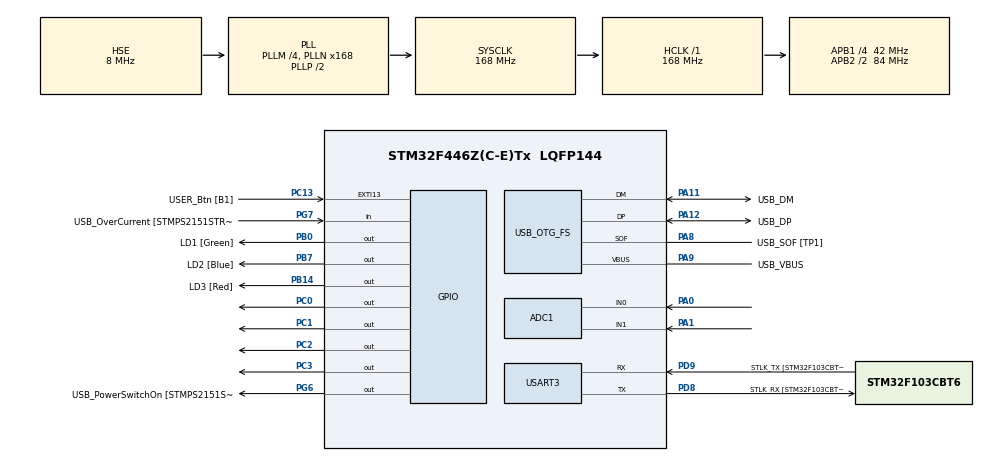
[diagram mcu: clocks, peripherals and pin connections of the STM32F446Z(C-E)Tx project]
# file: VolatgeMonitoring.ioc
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ADC1.Channel-0\#ChannelRegularConversion=ADC_CHANNEL_0
ADC1.NbrOfConversionFlag=1
ADC1.Rank-0\#ChannelRegularConversion=1
ADC1.SamplingTime-0\#ChannelRegularConversion=ADC_SAMPLETIME_3CYCLES
ADC1.master=1
Mcu.Family=STM32F4
Mcu.Name=STM32F446Z(C-E)Tx
Mcu.Package=LQFP144
NVIC.PriorityGroup=NVIC_PRIORITYGROUP_4
PA0-WKUP.Signal=ADCx_IN0
PA1.Signal=ADCx_IN1
PA10.GPIO_Label=USB_ID
PA10.Signal=USB_OTG_FS_ID
PA11.GPIO_Label=USB_DM
PA11.Mode=Device_Only
PA11.Signal=USB_OTG_FS_DM
PA12.GPIO_Label=USB_DP
PA12.Mode=Device_Only
PA12.Signal=USB_OTG_FS_DP
PA13.GPIO_Label=TMS
PA13.Mode=Serial_Wire
PA13.Signal=SYS_JTMS-SWDIO
PA14.GPIO_Label=TCK
PA14.Mode=Serial_Wire
PA14.Signal=SYS_JTCK-SWCLK
PA8.GPIO_Label=USB_SOF [TP1]
PA8.Mode=Activate_SOF_FS
PA8.Signal=USB_OTG_FS_SOF
PA9.GPIO_Label=USB_VBUS
PA9.Mode=Activate_VBUS
PA9.Signal=USB_OTG_FS_VBUS
PB0.GPIO_Label=LD1 [Green]
PB0.Signal=GPIO_Output
PB14.GPIO_Label=LD3 [Red]
PB14.Signal=GPIO_Output
PB7.GPIO_Label=LD2 [Blue]
PB7.Signal=GPIO_Output
PC0.Signal=GPIO_Output
PC1.Signal=GPIO_Output
PC13.GPIO_Label=USER_Btn [B1]
PC13.Signal=GPXTI13
PC14-OSC32_IN.Mode=LSE-External-Oscillator
PC14-OSC32_IN.Signal=RCC_OSC32_IN
PC15-OSC32_OUT.Mode=LSE-External-Oscillator
PC15-OSC32_OUT.Signal=RCC_OSC32_OUT
PC2.Signal=GPIO_Output
PC3.Signal=GPIO_Output
PD8.GPIO_Label=STLK_RX [STM32F103CBT6_PA3]
PD8.Mode=Asynchronous
PD8.Signal=USART3_TX
PD9.GPIO_Label=STLK_TX [STM32F103CBT6_PA2]
PD9.Mode=Asynchronous
PD9.Signal=USART3_RX
PG6.GPIO_Label=USB_PowerSwitchOn [STMPS2151STR_EN]
PG6.Signal=GPIO_Output
PG7.GPIO_Label=USB_OverCurrent [STMPS2151STR_FAULT]
PG7.Signal=GPIO_Input
PH0-OSC_IN.GPIO_Label=MCO [STM32F103CBT6_PA8]
PH0-OSC_IN.Mode=HSE-External-Clock-Source
PH0-OSC_IN.Signal=RCC_OSC_IN
PH1-OSC_OUT.Mode=HSE-External-Clock-Source
PH1-OSC_OUT.Signal=RCC_OSC_OUT
ProjectManager.HeapSize=0x200
ProjectManager.StackSize=0x400
ProjectManager.TargetToolchain=STM32CubeIDE
RCC.48MHZClocksFreq_Value=24000000
RCC.AHBFreq_Value=168000000
RCC.APB1CLKDivider=RCC_HCLK_DIV4
RCC.APB1Freq_Value=42000000
RCC.APB1TimFreq_Value=84000000
RCC.APB2CLKDivider=RCC_HCLK_DIV2
RCC.APB2Freq_Value=84000000
RCC.APB2TimFreq_Value=168000000
RCC.CortexFreq_Value=168000000
RCC.HCLKFreq_Value=168000000
RCC.HSE_VALUE=8000000
RCC.HSI_VALUE=16000000
RCC.PLLM=4
RCC.PLLMUL=RCC_PLL_MUL9
RCC.PLLN=168
RCC.PLLQ=7
RCC.PRESCALERUSB=RCC_USBCLKSOURCE_PLL_DIV1_5
RCC.SYSCLKFreq_VALUE=168000000
RCC.SYSCLKSource=RCC_SYSCLKSOURCE_PLLCLK
RCC.SYSCLKSourceVirtual=RCC_SYSCLKSOURCE_PLLCLK
RCC.USBFreq_Value=48000000
RCC.VCOOutputFreq_Value=336000000
SH.ADCx_IN0.0=ADC1_IN0,IN0
SH.ADCx_IN1.0=ADC1_IN1,IN1
USART3.VirtualMode=VM_ASYNC
USB_OTG_FS.VirtualMode=Device_Only
board=NUCLEO-F446ZE

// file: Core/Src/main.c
/* USER CODE BEGIN Header */
/**
  ******************************************************************************
  * @file           : main.c
  * @brief          : Main program body
  ******************************************************************************
  * @attention
  *
  * Copyright (c) 2025 STMicroelectronics.
  * All rights reserved.
  *
  * This software is licensed under terms that can be found in the LICENSE file
  * in the root directory of this software component.
  * If no LICENSE file comes with this software, it is provided AS-IS.
  *
  ******************************************************************************
  */
/* USER CODE END Header */
#include "main.h"

/* USER CODE BEGIN Includes */
#include <stdio.h>   // for snprintf
/* USER CODE END Includes */

ADC_HandleTypeDef hadc1;

UART_HandleTypeDef huart3;

PCD_HandleTypeDef hpcd_USB_OTG_FS;

void SystemClock_Config(void);
static void MX_GPIO_Init(void);
static void MX_USART3_UART_Init(void);
static void MX_USB_OTG_FS_PCD_Init(void);
static void MX_ADC1_Init(void);

/* USER CODE BEGIN 0 */

// Read one ADC channel (on ADC1) and convert raw value to volts (0–3.3V)
static float ADC_ReadVoltage(uint32_t channel)
{
  ADC_ChannelConfTypeDef sConfig = {0};

  sConfig.Channel      = channel;                 // e.g. ADC_CHANNEL_0 (PA0) or ADC_CHANNEL_1 (PA1)
  sConfig.Rank         = 1;                       // single conversion rank
  sConfig.SamplingTime = ADC_SAMPLETIME_56CYCLES; // safe for slow-changing voltages

  if (HAL_ADC_ConfigChannel(&hadc1, &sConfig) != HAL_OK)
  {
    return -1.0f;
  }

  if (HAL_ADC_Start(&hadc1) != HAL_OK)
  {
    return -1.0f;
  }

  if (HAL_ADC_PollForConversion(&hadc1, 10) != HAL_OK)
  {
    HAL_ADC_Stop(&hadc1);
    return -1.0f;
  }

  uint32_t raw = HAL_ADC_GetValue(&hadc1);
  HAL_ADC_Stop(&hadc1);

  // 12-bit ADC: 0–4095 → 0–3.3V
  float voltage = (3.3f * (float)raw) / 4095.0f;
  return voltage;
}

// Select one of the 16 MUX channels using GPIOC pins PC0–PC3 as S0–S3
// channel is 0–15
static void MUX_Select(uint8_t channel)
{
  // S0 = PC0 (bit 0)
  HAL_GPIO_WritePin(GPIOC, GPIO_PIN_0, (channel & 0x01) ? GPIO_PIN_SET : GPIO_PIN_RESET);
  // S1 = PC1 (bit 1)
  HAL_GPIO_WritePin(GPIOC, GPIO_PIN_1, (channel & 0x02) ? GPIO_PIN_SET : GPIO_PIN_RESET);
  // S2 = PC2 (bit 2)
  HAL_GPIO_WritePin(GPIOC, GPIO_PIN_2, (channel & 0x04) ? GPIO_PIN_SET : GPIO_PIN_RESET);
  // S3 = PC3 (bit 3)
  HAL_GPIO_WritePin(GPIOC, GPIO_PIN_3, (channel & 0x08) ? GPIO_PIN_SET : GPIO_PIN_RESET);

  // Small delay to let the mux output settle before ADC reading
  HAL_Delay(2);
}

/* USER CODE END 0 */

int main(void)
{

  /* MCU Configuration--------------------------------------------------------*/

  /* Reset of all peripherals, Initializes the Flash interface and the Systick. */
  HAL_Init();

  /* Configure the system clock */
  SystemClock_Config();

  /* Initialize all configured peripherals */
  MX_GPIO_Init();
  MX_USART3_UART_Init();
  MX_USB_OTG_FS_PCD_Init();
  MX_ADC1_Init();

  /* Infinite loop */
  while (1)
  {

    /* USER CODE BEGIN 3 */

    // Loop over a few mux channels (0–3) for demo
    // MUX output → PA0 (ADC_CHANNEL_0)
    // Direct current-sense input → PA1 (ADC_CHANNEL_1)
    for (uint8_t ch = 0; ch < 4; ch++)
    {
      // Select which mux input is routed to PA0
      MUX_Select(ch);

      float v_mux     = ADC_ReadVoltage(ADC_CHANNEL_0); // PA0, mux COM OUT
      float v_current = ADC_ReadVoltage(ADC_CHANNEL_1); // PA1, direct 0–3V input

      char msg[128];
      int n = snprintf(msg, sizeof(msg),
                       "MUX_CH%u = %.3f V   |   CURRENT = %.3f V\r\n",
                       ch, v_mux, v_current);

      if (n > 0)
      {
        HAL_UART_Transmit(&huart3, (uint8_t*)msg, (uint16_t)n, 50);
      }

      HAL_Delay(400); // ~0.4s per channel
    }

  /* USER CODE END 3 */
}

void SystemClock_Config(void)
{
  RCC_OscInitTypeDef RCC_OscInitStruct = {0};
  RCC_ClkInitTypeDef RCC_ClkInitStruct = {0};

  /** Configure the main internal regulator output voltage
  */
  __HAL_RCC_PWR_CLK_ENABLE();
  __HAL_PWR_VOLTAGESCALING_CONFIG(PWR_REGULATOR_VOLTAGE_SCALE1);

  /** Initializes the RCC Oscillators according to the specified parameters
  * in the RCC_OscInitTypeDef structure.
  */
  RCC_OscInitStruct.OscillatorType = RCC_OSCILLATORTYPE_HSE;
  RCC_OscInitStruct.HSEState = RCC_HSE_BYPASS;
  RCC_OscInitStruct.PLL.PLLState = RCC_PLL_ON;
  RCC_OscInitStruct.PLL.PLLSource = RCC_PLLSOURCE_HSE;
  RCC_OscInitStruct.PLL.PLLM = 4;
  RCC_OscInitStruct.PLL.PLLN = 168;
  RCC_OscInitStruct.PLL.PLLP = RCC_PLLP_DIV2;
  RCC_OscInitStruct.PLL.PLLQ = 7;
  RCC_OscInitStruct.PLL.PLLR = 2;
  if (HAL_RCC_OscConfig(&RCC_OscInitStruct) != HAL_OK)
  {
    Error_Handler();
  }

  /** Initializes the CPU, AHB and APB buses clocks
  */
  RCC_ClkInitStruct.ClockType = RCC_CLOCKTYPE_HCLK|RCC_CLOCKTYPE_SYSCLK
                              |RCC_CLOCKTYPE_PCLK1|RCC_CLOCKTYPE_PCLK2;
  RCC_ClkInitStruct.SYSCLKSource = RCC_SYSCLKSOURCE_PLLCLK;
  RCC_ClkInitStruct.AHBCLKDivider = RCC_SYSCLK_DIV1;
  RCC_ClkInitStruct.APB1CLKDivider = RCC_HCLK_DIV4;
  RCC_ClkInitStruct.APB2CLKDivider = RCC_HCLK_DIV2;

  if (HAL_RCC_ClockConfig(&RCC_ClkInitStruct, FLASH_LATENCY_5) != HAL_OK)
  {
    Error_Handler();
  }
}

static void MX_ADC1_Init(void)
{

  ADC_ChannelConfTypeDef sConfig = {0};

  /** Configure the global features of the ADC (Clock, Resolution, Data Alignment and number of conversion)
  */
  hadc1.Instance = ADC1;
  hadc1.Init.ClockPrescaler = ADC_CLOCK_SYNC_PCLK_DIV4;
  hadc1.Init.Resolution = ADC_RESOLUTION_12B;
  hadc1.Init.ScanConvMode = DISABLE;
  hadc1.Init.ContinuousConvMode = DISABLE;
  hadc1.Init.DiscontinuousConvMode = DISABLE;
  hadc1.Init.ExternalTrigConvEdge = ADC_EXTERNALTRIGCONVEDGE_NONE;
  hadc1.Init.ExternalTrigConv = ADC_SOFTWARE_START;
  hadc1.Init.DataAlign = ADC_DATAALIGN_RIGHT;
  hadc1.Init.NbrOfConversion = 1;
  hadc1.Init.DMAContinuousRequests = DISABLE;
  hadc1.Init.EOCSelection = ADC_EOC_SINGLE_CONV;
  if (HAL_ADC_Init(&hadc1) != HAL_OK)
  {
    Error_Handler();
  }

  /** Configure for the selected ADC regular channel its corresponding rank in the sequencer and its sample time.
  */
  sConfig.Channel = ADC_CHANNEL_0;
  sConfig.Rank = 1;
  sConfig.SamplingTime = ADC_SAMPLETIME_3CYCLES;
  if (HAL_ADC_ConfigChannel(&hadc1, &sConfig) != HAL_OK)
  {
    Error_Handler();
  }

}

static void MX_USART3_UART_Init(void)
{

  huart3.Instance = USART3;
  huart3.Init.BaudRate = 115200;
  huart3.Init.WordLength = UART_WORDLENGTH_8B;
  huart3.Init.StopBits = UART_STOPBITS_1;
  huart3.Init.Parity = UART_PARITY_NONE;
  huart3.Init.Mode = UART_MODE_TX_RX;
  huart3.Init.HwFlowCtl = UART_HWCONTROL_NONE;
  huart3.Init.OverSampling = UART_OVERSAMPLING_16;
  if (HAL_UART_Init(&huart3) != HAL_OK)
  {
    Error_Handler();
  }

}

static void MX_USB_OTG_FS_PCD_Init(void)
{

  hpcd_USB_OTG_FS.Instance = USB_OTG_FS;
  hpcd_USB_OTG_FS.Init.dev_endpoints = 6;
  hpcd_USB_OTG_FS.Init.speed = PCD_SPEED_FULL;
  hpcd_USB_OTG_FS.Init.dma_enable = DISABLE;
  hpcd_USB_OTG_FS.Init.phy_itface = PCD_PHY_EMBEDDED;
  hpcd_USB_OTG_FS.Init.Sof_enable = ENABLE;
  hpcd_USB_OTG_FS.Init.low_power_enable = DISABLE;
  hpcd_USB_OTG_FS.Init.lpm_enable = DISABLE;
  hpcd_USB_OTG_FS.Init.vbus_sensing_enable = ENABLE;
  hpcd_USB_OTG_FS.Init.use_dedicated_ep1 = DISABLE;
  if (HAL_PCD_Init(&hpcd_USB_OTG_FS) != HAL_OK)
  {
    Error_Handler();
  }

}

static void MX_GPIO_Init(void)
{
  GPIO_InitTypeDef GPIO_InitStruct = {0};

  /* GPIO Ports Clock Enable */
  __HAL_RCC_GPIOC_CLK_ENABLE();
  __HAL_RCC_GPIOH_CLK_ENABLE();
  __HAL_RCC_GPIOA_CLK_ENABLE();
  __HAL_RCC_GPIOB_CLK_ENABLE();
  __HAL_RCC_GPIOD_CLK_ENABLE();
  __HAL_RCC_GPIOG_CLK_ENABLE();

  /*Configure GPIO pin Output Level */
  HAL_GPIO_WritePin(GPIOC, GPIO_PIN_0|GPIO_PIN_1|GPIO_PIN_2|GPIO_PIN_3, GPIO_PIN_RESET);

  /*Configure GPIO pin Output Level */
  HAL_GPIO_WritePin(GPIOB, LD1_Pin|LD3_Pin|LD2_Pin, GPIO_PIN_RESET);

  /*Configure GPIO pin Output Level */
  HAL_GPIO_WritePin(USB_PowerSwitchOn_GPIO_Port, USB_PowerSwitchOn_Pin, GPIO_PIN_RESET);

  /*Configure GPIO pin : USER_Btn_Pin */
  GPIO_InitStruct.Pin = USER_Btn_Pin;
  GPIO_InitStruct.Mode = GPIO_MODE_IT_RISING;
  GPIO_InitStruct.Pull = GPIO_NOPULL;
  HAL_GPIO_Init(USER_Btn_GPIO_Port, &GPIO_InitStruct);

  /*Configure GPIO pins : PC0 PC1 PC2 PC3 */
  GPIO_InitStruct.Pin = GPIO_PIN_0|GPIO_PIN_1|GPIO_PIN_2|GPIO_PIN_3;
  GPIO_InitStruct.Mode = GPIO_MODE_OUTPUT_PP;
  GPIO_InitStruct.Pull = GPIO_NOPULL;
  GPIO_InitStruct.Speed = GPIO_SPEED_FREQ_LOW;
  HAL_GPIO_Init(GPIOC, &GPIO_InitStruct);

  /*Configure GPIO pins : LD1_Pin LD3_Pin LD2_Pin */
  GPIO_InitStruct.Pin = LD1_Pin|LD3_Pin|LD2_Pin;
  GPIO_InitStruct.Mode = GPIO_MODE_OUTPUT_PP;
  GPIO_InitStruct.Pull = GPIO_NOPULL;
  GPIO_InitStruct.Speed = GPIO_SPEED_FREQ_LOW;
  HAL_GPIO_Init(GPIOB, &GPIO_InitStruct);

  /*Configure GPIO pin : USB_PowerSwitchOn_Pin */
  GPIO_InitStruct.Pin = USB_PowerSwitchOn_Pin;
  GPIO_InitStruct.Mode = GPIO_MODE_OUTPUT_PP;
  GPIO_InitStruct.Pull = GPIO_NOPULL;
  GPIO_InitStruct.Speed = GPIO_SPEED_FREQ_LOW;
  HAL_GPIO_Init(USB_PowerSwitchOn_GPIO_Port, &GPIO_InitStruct);

  /*Configure GPIO pin : USB_OverCurrent_Pin */
  GPIO_InitStruct.Pin = USB_OverCurrent_Pin;
  GPIO_InitStruct.Mode = GPIO_MODE_INPUT;
  GPIO_InitStruct.Pull = GPIO_NOPULL;
  HAL_GPIO_Init(USB_OverCurrent_GPIO_Port, &GPIO_InitStruct);

  /* USER CODE BEGIN MX_GPIO_Init_2 */

  // Configure PC0–PC3 as GPIO outputs for MUX address lines S0–S3
  GPIO_InitStruct.Pin = GPIO_PIN_0 | GPIO_PIN_1 | GPIO_PIN_2 | GPIO_PIN_3;
  GPIO_InitStruct.Mode = GPIO_MODE_OUTPUT_PP;
  GPIO_InitStruct.Pull = GPIO_NOPULL;
  GPIO_InitStruct.Speed = GPIO_SPEED_FREQ_LOW;
  HAL_GPIO_Init(GPIOC, &GPIO_InitStruct);

  // Default all MUX select lines low (select channel 0 initially)
  HAL_GPIO_WritePin(GPIOC, GPIO_PIN_0 | GPIO_PIN_1 | GPIO_PIN_2 | GPIO_PIN_3, GPIO_PIN_RESET);

  /* USER CODE END MX_GPIO_Init_2 */
}

void Error_Handler(void)
{
  __disable_irq();
  while (1)
  {
  }
}
